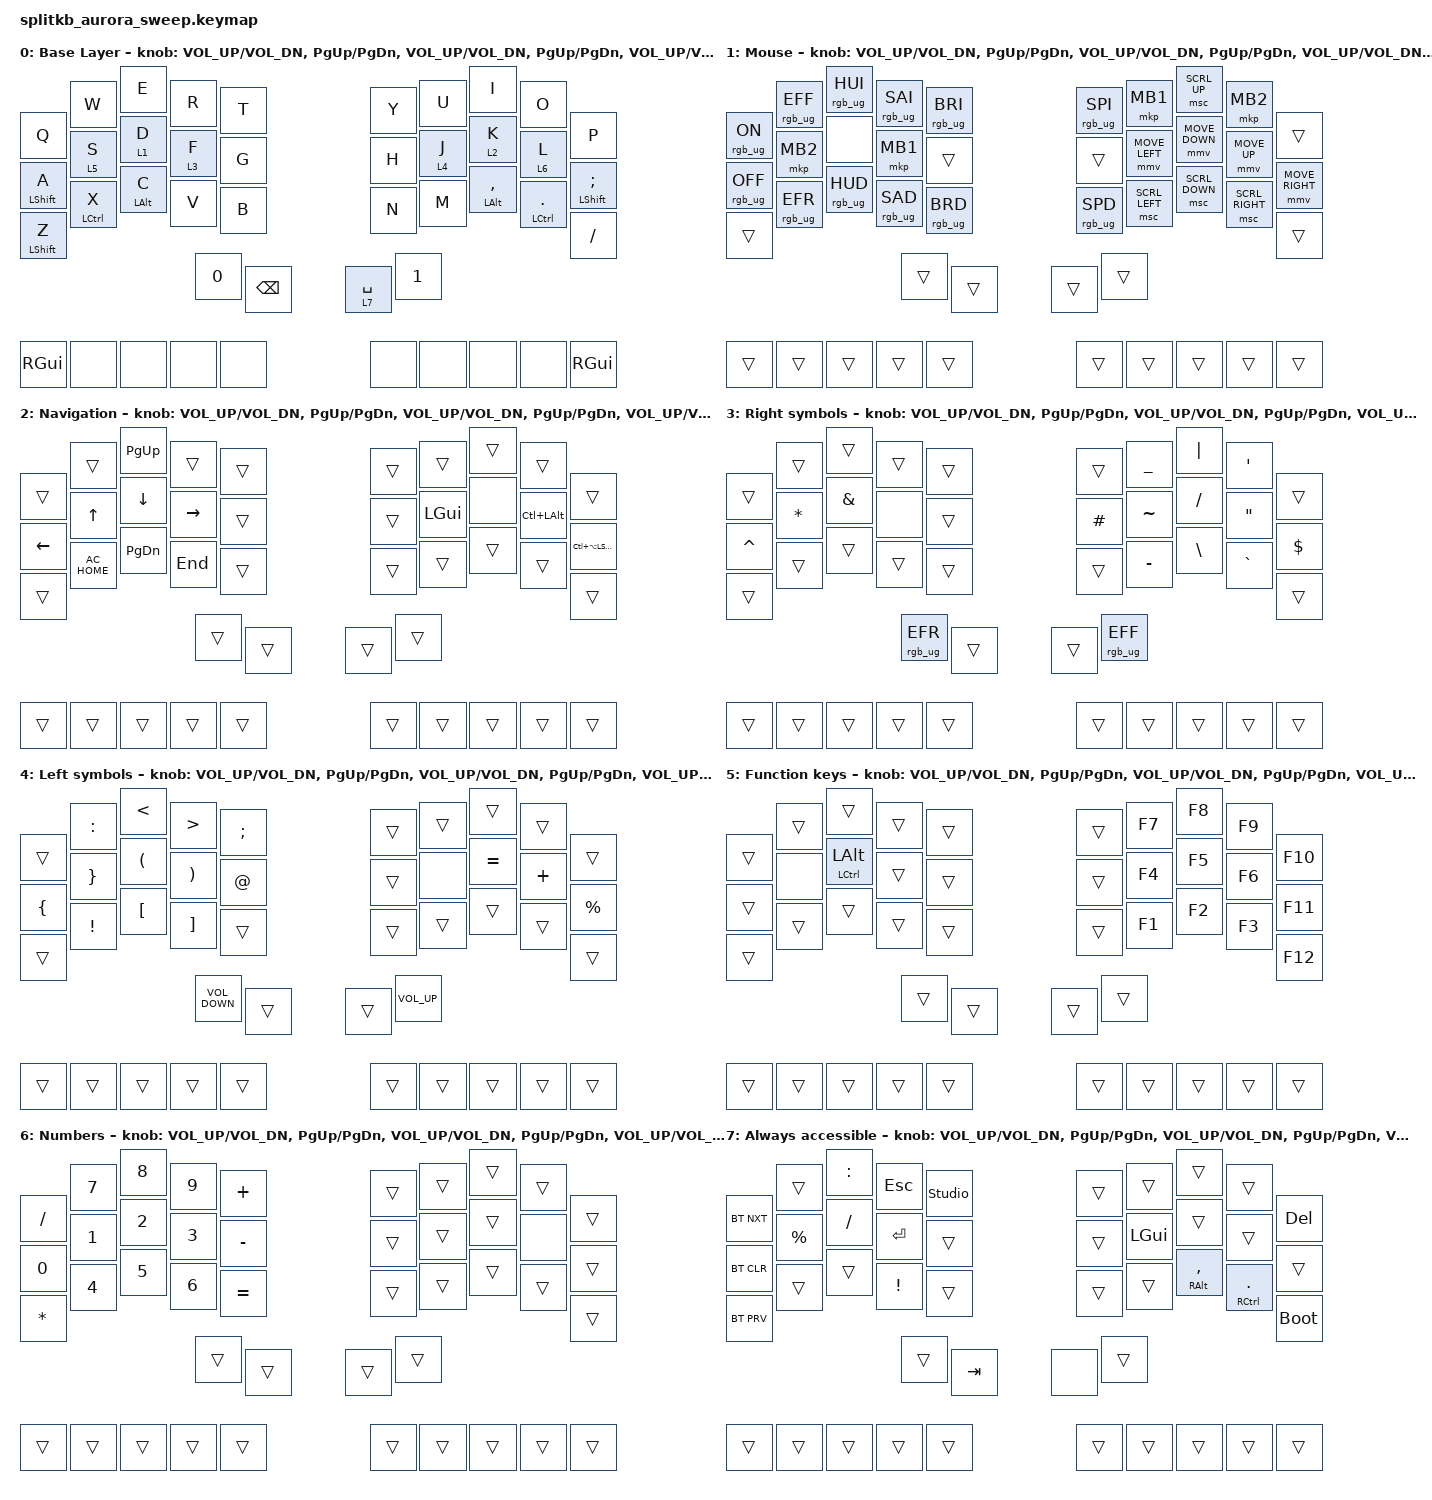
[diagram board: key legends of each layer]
/*
 * Copyright (c) 2022 The ZMK Contributors
 * Copyright (c) 2026 Splitkb.com
 *
 * SPDX-License-Identifier: MIT
 */

#include <behaviors.dtsi>
#include <dt-bindings/zmk/bt.h>
#include <dt-bindings/zmk/keys.h>
#include <dt-bindings/zmk/pointing.h>
#include <dt-bindings/zmk/rgb.h>

&led_strip {
    // chain-length = <6>;  // Uncomment if using only underglow LEDs
    chain-length = <23>;
    // chain-length = <17>; // Uncomment if using only per-key LEDs.
};

/ {
    keymap {
        compatible = "zmk,keymap";

        default_layer {
            display-name = "Base Layer";
// -----------------------------------------------------------------------------------------
// |  Q   |  W   |  E   |  R   |  T   |   |  Y   |  U   |  I   |  O   |  P   |
// |LS(A) |LT5(S)|LT1(D)|LT3(F)|  G   |   |  H   |LT4(J)|LT2(K)|LT6(L)|LS(;) |
// |LS(Z) |LC(X) |LA(C) |  V   |  B   |   |  N   |  M   |LA(,) |LC(.) |  /   |
//                      |  0   | BSPC |   | LT7(SPC) |  1  |
            bindings = <
&kp Q       &kp W       &kp E      &kp R   &kp T   &kp Y &kp U   &kp I          &kp O         &kp P
&mt LSHFT A &lt 5 S     &lt 1 D    &lt 3 F &kp G   &kp H &lt 4 J &lt 2 K        &lt 6 L       &mt LSHFT SEMI
&mt LSHFT Z &mt LCTRL X &mt LALT C &kp V   &kp B   &kp N &kp M   &mt LALT COMMA &mt LCTRL DOT &kp FSLH
                                 &kp N0 &kp BSPC   &lt 7 SPACE &kp N1

&kp RGUI &none &none &none &none                                      &none &none &none &none &kp RGUI
            >;
            sensor-bindings = <&inc_dec_kp C_VOL_UP C_VOL_DN &inc_dec_kp PG_UP PG_DN &inc_dec_kp C_VOL_UP C_VOL_DN &inc_dec_kp PG_UP PG_DN &inc_dec_kp C_VOL_UP C_VOL_DN &inc_dec_kp PG_UP PG_DN>;
        };

        mouse {
            display-name = "Mouse";
// -----------------------------------------------------------------------------------------
// |RGB_ON |RGB_EFF|RGB_HUI|RGB_SAI|RGB_BRI|   |RGB_SPI| MB1  |SCRL_UP| MB2  |      |
// |RGB_OFF|  MB2  |       |  MB1  |       |   |       | LEFT | DOWN  |  UP  |RIGHT |
// |       |RGB_EFR|RGB_HUD|RGB_SAD|RGB_BRD|   |RGB_SPD|SCRL_L|SCRL_D |SCRL_R|      |
//                         |       |       |   |       |      |
            bindings = <
&rgb_ug RGB_ON  &rgb_ug RGB_EFF &rgb_ug RGB_HUI &rgb_ug RGB_SAI &rgb_ug RGB_BRI   &rgb_ug RGB_SPI &mkp MB1       &msc SCRL_UP   &mkp MB2        &trans
&rgb_ug RGB_OFF &mkp MB2        &none           &mkp MB1        &trans            &trans          &mmv MOVE_LEFT &mmv MOVE_DOWN &mmv MOVE_UP    &mmv MOVE_RIGHT
&trans          &rgb_ug RGB_EFR &rgb_ug RGB_HUD &rgb_ug RGB_SAD &rgb_ug RGB_BRD   &rgb_ug RGB_SPD &msc SCRL_LEFT &msc SCRL_DOWN &msc SCRL_RIGHT &trans
                                                                  &trans &trans   &trans &trans

&trans &trans &trans &trans &trans                                                                                  &trans &trans &trans &trans &trans
            >;
            sensor-bindings = <&inc_dec_kp C_VOL_UP C_VOL_DN &inc_dec_kp PG_UP PG_DN &inc_dec_kp C_VOL_UP C_VOL_DN &inc_dec_kp PG_UP PG_DN &inc_dec_kp C_VOL_UP C_VOL_DN &inc_dec_kp PG_UP PG_DN>;
        };

        navigation {
            display-name = "Navigation";
// -----------------------------------------------------------------------------------------
// |      |      |PAGE_UP|      |     |   |     |      |     |       |          |
// | LEFT |  UP  | DOWN  |RIGHT |     |   |     | LGUI |     | LC+LA | LC+LA+LS |
// |      | HOME |PAGE_DN| END  |     |   |     |      |     |       |          |
//                       |      |     |   |     |      |
            bindings = <
&trans   &trans        &kp PAGE_UP   &trans    &trans   &trans &trans   &trans &trans       &trans
&kp LEFT &kp UP_ARROW  &kp DOWN      &kp RIGHT &trans   &trans &kp LGUI &none  &kp LC(LALT) &kp LC(LA(LSHFT))
&trans   &kp C_AC_HOME &kp PAGE_DOWN &kp END   &trans   &trans &trans   &trans &trans       &trans
                                        &trans &trans   &trans &trans

&trans &trans &trans &trans &trans                              &trans &trans &trans &trans &trans
            >;
            sensor-bindings = <&inc_dec_kp C_VOL_UP C_VOL_DN &inc_dec_kp PG_UP PG_DN &inc_dec_kp C_VOL_UP C_VOL_DN &inc_dec_kp PG_UP PG_DN &inc_dec_kp C_VOL_UP C_VOL_DN &inc_dec_kp PG_UP PG_DN>;
        };

        right_symbols {
            display-name = "Right symbols";
// -----------------------------------------------------------------------------------------
// |     |     |     |       |      |   |     |   _   | "|" |  '  |     |
// |  ^  |  *  |  &  |       |      |   |  #  |   ~   |  /  |  "  |  $  |
// |     |     |     |       |      |   |     |   -   |  \  |  `  |     |
//                   |RGB_EFR|      |   |     |RGB_EFF|
            bindings = <
&trans    &trans       &trans        &trans &trans   &trans   &kp UNDERSCORE &kp PIPE      &kp SQT   &trans
&kp CARET &kp ASTERISK &kp AMPERSAND &none  &trans   &kp HASH &kp TILDE      &kp FSLH      &kp DQT   &kp DLLR
&trans    &trans       &trans        &trans &trans   &trans   &kp MINUS      &kp BACKSLASH &kp GRAVE &trans
                            &rgb_ug RGB_EFR &trans   &trans &rgb_ug RGB_EFF

&trans &trans &trans &trans &trans                                       &trans &trans &trans &trans &trans
            >;
            sensor-bindings = <&inc_dec_kp C_VOL_UP C_VOL_DN &inc_dec_kp PG_UP PG_DN &inc_dec_kp C_VOL_UP C_VOL_DN &inc_dec_kp PG_UP PG_DN &inc_dec_kp C_VOL_UP C_VOL_DN &inc_dec_kp PG_UP PG_DN>;
        };

        left_symbols {
            display-name = "Left symbols";
// -----------------------------------------------------------------------------------------
// |     |  :  |  <  |  >   |  ;  |   |     |      |     |     |     |
// |  [  |  ]  |  (  |  )   |  @  |   |     |      |  =  |  +  |  %  |
// |     |  !  |  {  |  }   |     |   |     |      |     |     |     |
//                   |VOL_DN|     |   |     |VOL_UP|

            bindings = <
&trans   &kp COLON &kp LT   &kp GT   &kp SEMI   &trans &trans &trans    &trans   &trans
&kp LBRC &kp RBRC  &kp LPAR &kp RPAR &kp AT     &trans &none  &kp EQUAL &kp PLUS &kp PERCENT
&trans   &kp EXCL  &kp LBKT &kp RBKT &trans     &trans &trans &trans    &trans   &trans
                   &kp C_VOLUME_DOWN &trans     &trans &kp C_VOLUME_UP

&trans &trans &trans &trans &trans                   &trans &trans &trans &trans &trans
            >;
            sensor-bindings = <&inc_dec_kp C_VOL_UP C_VOL_DN &inc_dec_kp PG_UP PG_DN &inc_dec_kp C_VOL_UP C_VOL_DN &inc_dec_kp PG_UP PG_DN &inc_dec_kp C_VOL_UP C_VOL_DN &inc_dec_kp PG_UP PG_DN>;
        };

        function_keys {
            display-name = "Function keys";
// -----------------------------------------------------------------------------------------
// |     |     |       |     |     |   |     | F7  | F8  | F9  | F10 |
// |     |     | LC+LA |     |     |   |     | F4  | F5  | F6  | F11 |
// |     |     |       |     |     |   |     | F1  | F2  | F3  | F12 |
//                     |     |     |   |     |     |

            bindings = <
&trans &trans &trans         &trans &trans   &trans &kp F7 &kp F8 &kp F9 &kp F10
&trans &none  &mt LCTRL LALT &trans &trans   &trans &kp F4 &kp F5 &kp F6 &kp F11
&trans &trans &trans         &trans &trans   &trans &kp F1 &kp F2 &kp F3 &kp F12
                             &trans &trans   &trans &trans

&trans &trans &trans &trans &trans           &trans &trans &trans &trans &trans
            >;
            sensor-bindings = <&inc_dec_kp C_VOL_UP C_VOL_DN &inc_dec_kp PG_UP PG_DN &inc_dec_kp C_VOL_UP C_VOL_DN &inc_dec_kp PG_UP PG_DN &inc_dec_kp C_VOL_UP C_VOL_DN &inc_dec_kp PG_UP PG_DN>;
        };

        numbers {
            display-name = "Numbers";
// -----------------------------------------------------------------------------------------
// |  /  |  7  |  8  |  9  |  +  |   |     |     |     |     |     |
// |  0  |  1  |  2  |  3  |  -  |   |     |     |     |     |     |
// |  *  |  4  |  5  |  6  |  =  |   |     |     |     |     |     |
//                   |     |     |   |     |     |
            bindings = <
&kp FSLH     &kp N7 &kp N8 &kp N9 &kp PLUS    &trans &trans &trans &trans &trans
&kp N0       &kp N1 &kp N2 &kp N3 &kp MINUS   &trans &trans &trans &none  &trans
&kp ASTERISK &kp N4 &kp N5 &kp N6 &kp EQUAL   &trans &trans &trans &trans &trans
                              &trans &trans   &trans &trans

&trans &trans &trans &trans &trans            &trans &trans &trans &trans &trans
            >;
            sensor-bindings = <&inc_dec_kp C_VOL_UP C_VOL_DN &inc_dec_kp PG_UP PG_DN &inc_dec_kp C_VOL_UP C_VOL_DN &inc_dec_kp PG_UP PG_DN &inc_dec_kp C_VOL_UP C_VOL_DN &inc_dec_kp PG_UP PG_DN>;
        };

        always {
            display-name = "Always accessible";
// -----------------------------------------------------------------------------------------
// | BT+   |     |  :  | ESC |STDIO|   |     |     |       |       |  DEL |
// | BT_CLR|  %  |  /  | RET |     |   |     | GUI |       |       |      |
// | BT-   |     |     |  !  |     |   |     |     | RA(,) | RC(.) | BOOT |
//                     |     | TAB |   |     |     |
            bindings = <
&bt BT_NXT &trans      &kp COLON &kp ESC   &studio_unlock &trans &trans   &trans         &trans        &kp DEL
&bt BT_CLR &kp PERCENT &kp FSLH  &kp ENTER &trans         &trans         &kp LGUI &trans         &trans        &trans
&bt BT_PRV &trans      &trans    &kp EXCL  &trans         &trans         &trans   &mt RALT COMMA &mt RCTRL DOT &bootloader
                                   &trans &kp TAB         &none &trans

&trans &trans &trans &trans &trans                                           &trans &trans &trans &trans &trans
            >;
            sensor-bindings = <&inc_dec_kp C_VOL_UP C_VOL_DN &inc_dec_kp PG_UP PG_DN &inc_dec_kp C_VOL_UP C_VOL_DN &inc_dec_kp PG_UP PG_DN &inc_dec_kp C_VOL_UP C_VOL_DN &inc_dec_kp PG_UP PG_DN>;
        };
    };
};
